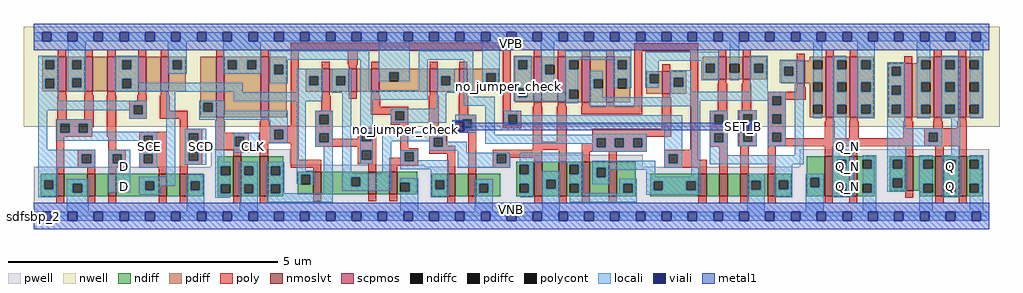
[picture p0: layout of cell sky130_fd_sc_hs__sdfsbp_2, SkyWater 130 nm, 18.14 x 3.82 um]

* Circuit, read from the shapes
.subckt sky130_fd_sc_hs__sdfsbp_2 CLK D SCD SCE SET_B VGND VNB VPB VPWR Q Q_N
XM1 VGND SCE n1 VNB sky130_fd_pr__nfet_01v8_lvt w=0.42 l=0.15
XM2 n2 n1 VGND VNB sky130_fd_pr__nfet_01v8_lvt w=0.42 l=0.15
XM3 n3 D n2 VNB sky130_fd_pr__nfet_01v8_lvt w=0.42 l=0.15
XM4 n4 SCE n3 VNB sky130_fd_pr__nfet_01v8_lvt w=0.42 l=0.15
XM5 VGND SCD n4 VNB sky130_fd_pr__nfet_01v8_lvt w=0.42 l=0.15
XM6 VGND CLK n5 VNB sky130_fd_pr__nfet_01v8_lvt w=0.74 l=0.15
XM7 n6 n5 VGND VNB sky130_fd_pr__nfet_01v8_lvt w=0.74 l=0.15
XM8 n7 n5 n3 VNB sky130_fd_pr__nfet_01v8_lvt w=0.42 l=0.15
XM9 n8 n6 n7 VNB sky130_fd_pr__nfet_01v8_lvt w=0.42 l=0.15
XM10 VGND n9 n8 VNB sky130_fd_pr__nfet_01v8_lvt w=0.42 l=0.15
XM11 n10 n7 n9 VNB sky130_fd_pr__nfet_01v8_lvt w=0.42 l=0.15
XM12 VGND SET_B n10 VNB sky130_fd_pr__nfet_01v8_lvt w=0.42 l=0.15
XM13 VGND n7 n11 VNB sky130_fd_pr__nfet_01v8_lvt w=0.64 l=0.15 m=2
XM14 n12 n6 n11 VNB sky130_fd_pr__nfet_01v8_lvt w=0.64 l=0.15 m=2
XM15 n13 n5 n12 VNB sky130_fd_pr__nfet_01v8_lvt w=0.42 l=0.15
XM16 n14 n15 n13 VNB sky130_fd_pr__nfet_01v8_lvt w=0.42 l=0.15
XM17 VGND SET_B n14 VNB sky130_fd_pr__nfet_01v8_lvt w=0.42 l=0.15
XM18 n15 n12 VGND VNB sky130_fd_pr__nfet_01v8_lvt w=0.42 l=0.15
XM19 Q_N n12 VGND VNB sky130_fd_pr__nfet_01v8_lvt w=0.74 l=0.15 m=2
XM20 VGND n12 n16 VNB sky130_fd_pr__nfet_01v8_lvt w=0.64 l=0.15
XM21 Q n16 VGND VNB sky130_fd_pr__nfet_01v8_lvt w=0.74 l=0.15 m=2
XM22 VPWR SCE n1 VPB sky130_fd_pr__pfet_01v8 w=0.64 l=0.15
XM23 n17 SCE VPWR VPB sky130_fd_pr__pfet_01v8 w=0.64 l=0.15
XM24 n3 D n17 VPB sky130_fd_pr__pfet_01v8 w=0.64 l=0.15
XM25 n18 n1 n3 VPB sky130_fd_pr__pfet_01v8 w=0.64 l=0.15
XM26 VPWR SCD n18 VPB sky130_fd_pr__pfet_01v8 w=0.64 l=0.15
XM27 VPWR CLK n5 VPB sky130_fd_pr__pfet_01v8 w=1.12 l=0.15
XM28 n6 n5 VPWR VPB sky130_fd_pr__pfet_01v8 w=1.12 l=0.15
XM29 n7 n6 n3 VPB sky130_fd_pr__pfet_01v8 w=0.42 l=0.15
XM30 n19 n5 n7 VPB sky130_fd_pr__pfet_01v8 w=0.42 l=0.15
XM31 VPWR n9 n19 VPB sky130_fd_pr__pfet_01v8 w=0.42 l=0.15
XM32 n9 n7 VPWR VPB sky130_fd_pr__pfet_01v8 w=0.42 l=0.15
XM33 VPWR SET_B n9 VPB sky130_fd_pr__pfet_01v8 w=0.42 l=0.15
XM34 VPWR n7 n20 VPB sky130_fd_pr__pfet_01v8 w=0.84 l=0.15 m=2
XM35 n12 n5 n20 VPB sky130_fd_pr__pfet_01v8 w=0.84 l=0.15 m=2
XM36 n12 n6 n21 VPB sky130_fd_pr__pfet_01v8 w=0.42 l=0.15
XM37 VPWR n15 n21 VPB sky130_fd_pr__pfet_01v8 w=0.42 l=0.15
XM38 n12 SET_B VPWR VPB sky130_fd_pr__pfet_01v8 w=0.42 l=0.15
XM39 VPWR n12 n15 VPB sky130_fd_pr__pfet_01v8 w=0.42 l=0.15
XM40 Q_N n12 VPWR VPB sky130_fd_pr__pfet_01v8 w=1.12 l=0.15 m=2
XM41 VPWR n12 n16 VPB sky130_fd_pr__pfet_01v8 w=1 l=0.15
XM42 Q n16 VPWR VPB sky130_fd_pr__pfet_01v8 w=1.12 l=0.15 m=2
.ends

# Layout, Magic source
magic
tech sky130A
magscale 1 2
<< nwell >>
rect -38 332 3590 704
<< pwell >>
rect 658 191 954 248
rect 658 184 1452 191
rect 1768 184 2264 228
rect 2848 184 3551 248
rect 1 49 3551 184
rect 0 0 3552 49
<< scpmos >>
rect 90 464 120 592
rect 190 464 220 592
rect 274 464 304 592
rect 388 464 418 592
rect 472 464 502 592
rect 678 368 708 592
rect 844 368 874 592
rect 1071 463 1101 547
rect 1171 463 1201 547
rect 1255 463 1285 547
rect 1472 463 1502 547
rect 1582 463 1612 547
rect 1858 424 1888 592
rect 1948 424 1978 592
rect 2038 424 2068 592
rect 2128 424 2158 592
rect 2337 455 2367 539
rect 2545 508 2575 592
rect 2635 508 2665 592
rect 2837 494 2867 578
rect 2944 368 2974 592
rect 3034 368 3064 592
rect 3236 368 3266 568
rect 3346 368 3376 592
rect 3436 368 3466 592
<< nmoslvt >>
rect 84 74 114 158
rect 199 74 229 158
rect 277 74 307 158
rect 465 74 495 158
rect 543 74 573 158
rect 741 74 771 222
rect 841 74 871 222
rect 1039 81 1069 165
rect 1244 81 1274 165
rect 1322 81 1352 165
rect 1537 74 1567 158
rect 1615 74 1645 158
rect 1861 74 1891 202
rect 1951 74 1981 202
rect 2037 74 2067 202
rect 2137 74 2167 202
rect 2471 74 2501 158
rect 2549 74 2579 158
rect 2627 74 2657 158
rect 2729 74 2759 158
rect 2941 74 2971 222
rect 3031 74 3061 222
rect 3239 94 3269 222
rect 3352 74 3382 222
rect 3438 74 3468 222
<< ndiff >>
rect 684 186 741 222
rect 27 133 84 158
rect 27 99 39 133
rect 73 99 84 133
rect 27 74 84 99
rect 114 120 199 158
rect 114 86 146 120
rect 180 86 199 120
rect 114 74 199 86
rect 229 74 277 158
rect 307 130 465 158
rect 307 96 414 130
rect 448 96 465 130
rect 307 74 465 96
rect 495 74 543 158
rect 573 130 630 158
rect 573 96 584 130
rect 618 96 630 130
rect 573 74 630 96
rect 684 152 696 186
rect 730 152 741 186
rect 684 118 741 152
rect 684 84 696 118
rect 730 84 741 118
rect 684 74 741 84
rect 771 186 841 222
rect 771 152 782 186
rect 816 152 841 186
rect 771 118 841 152
rect 771 84 782 118
rect 816 84 841 118
rect 771 74 841 84
rect 871 186 928 222
rect 871 152 882 186
rect 916 152 928 186
rect 871 118 928 152
rect 871 84 882 118
rect 916 84 928 118
rect 871 74 928 84
rect 982 153 1039 165
rect 982 119 994 153
rect 1028 119 1039 153
rect 982 81 1039 119
rect 1069 144 1244 165
rect 1069 110 1180 144
rect 1214 110 1244 144
rect 1069 81 1244 110
rect 1274 81 1322 165
rect 1352 124 1426 165
rect 1794 190 1861 202
rect 1352 90 1363 124
rect 1397 90 1426 124
rect 1352 81 1426 90
rect 1480 133 1537 158
rect 1480 99 1492 133
rect 1526 99 1537 133
rect 1480 74 1537 99
rect 1567 74 1615 158
rect 1645 120 1735 158
rect 1645 86 1656 120
rect 1690 86 1735 120
rect 1645 74 1735 86
rect 1794 156 1806 190
rect 1840 156 1861 190
rect 1794 120 1861 156
rect 1794 86 1806 120
rect 1840 86 1861 120
rect 1794 74 1861 86
rect 1891 135 1951 202
rect 1891 101 1906 135
rect 1940 101 1951 135
rect 1891 74 1951 101
rect 1981 190 2037 202
rect 1981 156 1992 190
rect 2026 156 2037 190
rect 1981 120 2037 156
rect 1981 86 1992 120
rect 2026 86 2037 120
rect 1981 74 2037 86
rect 2067 179 2137 202
rect 2067 145 2092 179
rect 2126 145 2137 179
rect 2067 74 2137 145
rect 2167 121 2238 202
rect 2167 87 2192 121
rect 2226 87 2238 121
rect 2167 74 2238 87
rect 2292 130 2471 158
rect 2292 96 2304 130
rect 2338 96 2426 130
rect 2460 96 2471 130
rect 2292 74 2471 96
rect 2501 74 2549 158
rect 2579 74 2627 158
rect 2657 131 2729 158
rect 2657 97 2668 131
rect 2702 97 2729 131
rect 2657 74 2729 97
rect 2759 133 2816 158
rect 2759 99 2770 133
rect 2804 99 2816 133
rect 2759 74 2816 99
rect 2874 142 2941 222
rect 2874 108 2886 142
rect 2920 108 2941 142
rect 2874 74 2941 108
rect 2971 210 3031 222
rect 2971 176 2986 210
rect 3020 176 3031 210
rect 2971 120 3031 176
rect 2971 86 2986 120
rect 3020 86 3031 120
rect 2971 74 3031 86
rect 3061 210 3127 222
rect 3061 176 3081 210
rect 3115 176 3127 210
rect 3061 120 3127 176
rect 3061 86 3081 120
rect 3115 86 3127 120
rect 3182 210 3239 222
rect 3182 176 3194 210
rect 3228 176 3239 210
rect 3182 140 3239 176
rect 3182 106 3194 140
rect 3228 106 3239 140
rect 3182 94 3239 106
rect 3269 210 3352 222
rect 3269 176 3307 210
rect 3341 176 3352 210
rect 3269 120 3352 176
rect 3269 94 3307 120
rect 3061 74 3127 86
rect 3295 86 3307 94
rect 3341 86 3352 120
rect 3295 74 3352 86
rect 3382 210 3438 222
rect 3382 176 3393 210
rect 3427 176 3438 210
rect 3382 120 3438 176
rect 3382 86 3393 120
rect 3427 86 3438 120
rect 3382 74 3438 86
rect 3468 210 3525 222
rect 3468 176 3479 210
rect 3513 176 3525 210
rect 3468 120 3525 176
rect 3468 86 3479 120
rect 3513 86 3525 120
rect 3468 74 3525 86
<< pdiff >>
rect 31 580 90 592
rect 31 546 43 580
rect 77 546 90 580
rect 31 510 90 546
rect 31 476 43 510
rect 77 476 90 510
rect 31 464 90 476
rect 120 580 190 592
rect 120 546 143 580
rect 177 546 190 580
rect 120 512 190 546
rect 120 478 143 512
rect 177 478 190 512
rect 120 464 190 478
rect 220 464 274 592
rect 304 580 388 592
rect 304 546 329 580
rect 363 546 388 580
rect 304 510 388 546
rect 304 476 329 510
rect 363 476 388 510
rect 304 464 388 476
rect 418 464 472 592
rect 502 580 565 592
rect 502 546 517 580
rect 551 546 565 580
rect 502 464 565 546
rect 619 421 678 592
rect 619 387 631 421
rect 665 387 678 421
rect 619 368 678 387
rect 708 580 844 592
rect 708 546 721 580
rect 755 546 794 580
rect 828 546 844 580
rect 708 368 844 546
rect 874 562 940 592
rect 874 528 894 562
rect 928 528 940 562
rect 874 368 940 528
rect 1012 520 1071 547
rect 1012 486 1024 520
rect 1058 486 1071 520
rect 1012 463 1071 486
rect 1101 520 1171 547
rect 1101 486 1124 520
rect 1158 486 1171 520
rect 1101 463 1171 486
rect 1201 463 1255 547
rect 1285 535 1472 547
rect 1285 501 1322 535
rect 1356 501 1472 535
rect 1285 463 1472 501
rect 1502 520 1582 547
rect 1502 486 1515 520
rect 1549 486 1582 520
rect 1502 463 1582 486
rect 1612 531 1729 547
rect 1612 497 1683 531
rect 1717 497 1729 531
rect 1612 463 1729 497
rect 1789 580 1858 592
rect 1789 546 1801 580
rect 1835 546 1858 580
rect 1789 476 1858 546
rect 1789 442 1801 476
rect 1835 442 1858 476
rect 1789 424 1858 442
rect 1888 562 1948 592
rect 1888 528 1901 562
rect 1935 528 1948 562
rect 1888 424 1948 528
rect 1978 580 2038 592
rect 1978 546 1991 580
rect 2025 546 2038 580
rect 1978 470 2038 546
rect 1978 436 1991 470
rect 2025 436 2038 470
rect 1978 424 2038 436
rect 2068 509 2128 592
rect 2068 475 2081 509
rect 2115 475 2128 509
rect 2068 424 2128 475
rect 2158 580 2217 592
rect 2158 546 2171 580
rect 2205 546 2217 580
rect 2158 510 2217 546
rect 2158 476 2171 510
rect 2205 476 2217 510
rect 2158 424 2217 476
rect 2277 527 2337 539
rect 2277 493 2289 527
rect 2323 493 2337 527
rect 2277 455 2337 493
rect 2367 514 2426 539
rect 2367 480 2380 514
rect 2414 480 2426 514
rect 2367 455 2426 480
rect 2486 567 2545 592
rect 2486 533 2498 567
rect 2532 533 2545 567
rect 2486 508 2545 533
rect 2575 567 2635 592
rect 2575 533 2588 567
rect 2622 533 2635 567
rect 2575 508 2635 533
rect 2665 567 2724 592
rect 2885 580 2944 592
rect 2885 578 2897 580
rect 2665 533 2678 567
rect 2712 533 2724 567
rect 2665 508 2724 533
rect 2778 556 2837 578
rect 2778 522 2790 556
rect 2824 522 2837 556
rect 2778 494 2837 522
rect 2867 546 2897 578
rect 2931 546 2944 580
rect 2867 497 2944 546
rect 2867 494 2897 497
rect 2885 463 2897 494
rect 2931 463 2944 497
rect 2885 414 2944 463
rect 2885 380 2897 414
rect 2931 380 2944 414
rect 2885 368 2944 380
rect 2974 580 3034 592
rect 2974 546 2987 580
rect 3021 546 3034 580
rect 2974 497 3034 546
rect 2974 463 2987 497
rect 3021 463 3034 497
rect 2974 414 3034 463
rect 2974 380 2987 414
rect 3021 380 3034 414
rect 2974 368 3034 380
rect 3064 580 3123 592
rect 3064 546 3077 580
rect 3111 546 3123 580
rect 3287 580 3346 592
rect 3287 568 3299 580
rect 3064 497 3123 546
rect 3064 463 3077 497
rect 3111 463 3123 497
rect 3064 414 3123 463
rect 3064 380 3077 414
rect 3111 380 3123 414
rect 3064 368 3123 380
rect 3177 556 3236 568
rect 3177 522 3189 556
rect 3223 522 3236 556
rect 3177 485 3236 522
rect 3177 451 3189 485
rect 3223 451 3236 485
rect 3177 414 3236 451
rect 3177 380 3189 414
rect 3223 380 3236 414
rect 3177 368 3236 380
rect 3266 546 3299 568
rect 3333 546 3346 580
rect 3266 497 3346 546
rect 3266 463 3299 497
rect 3333 463 3346 497
rect 3266 414 3346 463
rect 3266 380 3299 414
rect 3333 380 3346 414
rect 3266 368 3346 380
rect 3376 580 3436 592
rect 3376 546 3389 580
rect 3423 546 3436 580
rect 3376 497 3436 546
rect 3376 463 3389 497
rect 3423 463 3436 497
rect 3376 414 3436 463
rect 3376 380 3389 414
rect 3423 380 3436 414
rect 3376 368 3436 380
rect 3466 580 3525 592
rect 3466 546 3479 580
rect 3513 546 3525 580
rect 3466 497 3525 546
rect 3466 463 3479 497
rect 3513 463 3525 497
rect 3466 414 3525 463
rect 3466 380 3479 414
rect 3513 380 3525 414
rect 3466 368 3525 380
<< ndiffc >>
rect 39 99 73 133
rect 146 86 180 120
rect 414 96 448 130
rect 584 96 618 130
rect 696 152 730 186
rect 696 84 730 118
rect 782 152 816 186
rect 782 84 816 118
rect 882 152 916 186
rect 882 84 916 118
rect 994 119 1028 153
rect 1180 110 1214 144
rect 1363 90 1397 124
rect 1492 99 1526 133
rect 1656 86 1690 120
rect 1806 156 1840 190
rect 1806 86 1840 120
rect 1906 101 1940 135
rect 1992 156 2026 190
rect 1992 86 2026 120
rect 2092 145 2126 179
rect 2192 87 2226 121
rect 2304 96 2338 130
rect 2426 96 2460 130
rect 2668 97 2702 131
rect 2770 99 2804 133
rect 2886 108 2920 142
rect 2986 176 3020 210
rect 2986 86 3020 120
rect 3081 176 3115 210
rect 3081 86 3115 120
rect 3194 176 3228 210
rect 3194 106 3228 140
rect 3307 176 3341 210
rect 3307 86 3341 120
rect 3393 176 3427 210
rect 3393 86 3427 120
rect 3479 176 3513 210
rect 3479 86 3513 120
<< pdiffc >>
rect 43 546 77 580
rect 43 476 77 510
rect 143 546 177 580
rect 143 478 177 512
rect 329 546 363 580
rect 329 476 363 510
rect 517 546 551 580
rect 631 387 665 421
rect 721 546 755 580
rect 794 546 828 580
rect 894 528 928 562
rect 1024 486 1058 520
rect 1124 486 1158 520
rect 1322 501 1356 535
rect 1515 486 1549 520
rect 1683 497 1717 531
rect 1801 546 1835 580
rect 1801 442 1835 476
rect 1901 528 1935 562
rect 1991 546 2025 580
rect 1991 436 2025 470
rect 2081 475 2115 509
rect 2171 546 2205 580
rect 2171 476 2205 510
rect 2289 493 2323 527
rect 2380 480 2414 514
rect 2498 533 2532 567
rect 2588 533 2622 567
rect 2678 533 2712 567
rect 2790 522 2824 556
rect 2897 546 2931 580
rect 2897 463 2931 497
rect 2897 380 2931 414
rect 2987 546 3021 580
rect 2987 463 3021 497
rect 2987 380 3021 414
rect 3077 546 3111 580
rect 3077 463 3111 497
rect 3077 380 3111 414
rect 3189 522 3223 556
rect 3189 451 3223 485
rect 3189 380 3223 414
rect 3299 546 3333 580
rect 3299 463 3333 497
rect 3299 380 3333 414
rect 3389 546 3423 580
rect 3389 463 3423 497
rect 3389 380 3423 414
rect 3479 546 3513 580
rect 3479 463 3513 497
rect 3479 380 3513 414
<< poly >>
rect 90 592 120 618
rect 190 592 220 618
rect 274 592 304 618
rect 388 592 418 618
rect 472 592 502 618
rect 678 592 708 618
rect 844 592 874 618
rect 955 615 1774 645
rect 90 449 120 464
rect 190 449 220 464
rect 274 449 304 464
rect 388 449 418 464
rect 472 449 502 464
rect 87 360 123 449
rect 187 360 223 449
rect 83 344 223 360
rect 83 310 99 344
rect 133 310 167 344
rect 201 330 223 344
rect 201 310 217 330
rect 83 294 217 310
rect 271 294 307 449
rect 385 428 421 449
rect 355 412 421 428
rect 355 378 371 412
rect 405 378 421 412
rect 355 362 421 378
rect 469 392 505 449
rect 469 362 573 392
rect 543 324 573 362
rect 678 353 708 368
rect 844 353 874 368
rect 84 158 114 294
rect 277 246 307 294
rect 393 298 495 314
rect 393 264 409 298
rect 443 264 495 298
rect 163 230 229 246
rect 163 196 179 230
rect 213 196 229 230
rect 163 180 229 196
rect 199 158 229 180
rect 277 230 343 246
rect 277 196 293 230
rect 327 196 343 230
rect 277 180 343 196
rect 393 230 495 264
rect 393 196 409 230
rect 443 196 495 230
rect 393 180 495 196
rect 277 158 307 180
rect 465 158 495 180
rect 543 308 627 324
rect 543 274 577 308
rect 611 274 627 308
rect 543 240 627 274
rect 675 310 711 353
rect 841 336 877 353
rect 955 336 985 615
rect 1071 547 1101 573
rect 1168 562 1204 615
rect 1171 547 1201 562
rect 1255 547 1285 573
rect 1472 547 1502 573
rect 1582 547 1612 573
rect 1071 448 1101 463
rect 1068 392 1104 448
rect 1171 437 1201 463
rect 1255 448 1285 463
rect 1472 448 1502 463
rect 1582 448 1612 463
rect 1252 406 1288 448
rect 841 320 985 336
rect 675 294 799 310
rect 675 260 749 294
rect 783 260 799 294
rect 675 244 799 260
rect 841 286 894 320
rect 928 286 985 320
rect 841 270 985 286
rect 543 206 577 240
rect 611 206 627 240
rect 741 222 771 244
rect 841 222 871 270
rect 543 190 627 206
rect 543 158 573 190
rect 955 210 985 270
rect 1046 376 1112 392
rect 1252 390 1393 406
rect 1252 376 1343 390
rect 1046 342 1062 376
rect 1096 342 1112 376
rect 1046 308 1112 342
rect 1327 356 1343 376
rect 1377 356 1393 390
rect 1327 340 1393 356
rect 1046 274 1062 308
rect 1096 288 1112 308
rect 1204 312 1274 328
rect 1204 288 1220 312
rect 1096 278 1220 288
rect 1254 278 1274 312
rect 1096 274 1274 278
rect 1046 258 1274 274
rect 1204 244 1274 258
rect 1204 210 1220 244
rect 1254 210 1274 244
rect 1363 253 1393 340
rect 1469 310 1505 448
rect 1579 376 1615 448
rect 1744 392 1774 615
rect 1858 592 1888 618
rect 1948 592 1978 618
rect 2038 592 2068 618
rect 2128 592 2158 618
rect 2232 613 2471 643
rect 1858 409 1888 424
rect 1948 409 1978 424
rect 2038 409 2068 424
rect 2128 409 2158 424
rect 2232 409 2262 613
rect 2337 539 2367 565
rect 2337 440 2367 455
rect 1744 376 1813 392
rect 1579 360 1645 376
rect 1579 326 1595 360
rect 1629 326 1645 360
rect 1744 342 1763 376
rect 1797 342 1813 376
rect 1744 326 1813 342
rect 1579 310 1645 326
rect 1471 308 1505 310
rect 1471 292 1537 308
rect 1471 258 1487 292
rect 1521 262 1537 292
rect 1521 258 1567 262
rect 1363 237 1429 253
rect 1363 217 1379 237
rect 955 180 1069 210
rect 1204 194 1274 210
rect 1039 165 1069 180
rect 1244 165 1274 194
rect 1322 203 1379 217
rect 1413 203 1429 237
rect 1471 232 1567 258
rect 1322 187 1429 203
rect 1322 165 1352 187
rect 1537 158 1567 232
rect 1615 158 1645 310
rect 1855 277 1891 409
rect 1945 277 1981 409
rect 2035 379 2262 409
rect 2334 324 2370 440
rect 1855 247 1981 277
rect 2076 294 2370 324
rect 2076 290 2278 294
rect 2076 270 2092 290
rect 1706 230 1891 247
rect 1706 196 1722 230
rect 1756 217 1891 230
rect 1756 196 1772 217
rect 1861 202 1891 217
rect 1951 202 1981 247
rect 2037 256 2092 270
rect 2126 256 2160 290
rect 2194 256 2228 290
rect 2262 256 2278 290
rect 2037 240 2278 256
rect 2441 246 2471 613
rect 2545 592 2575 618
rect 2635 592 2665 618
rect 2837 578 2867 604
rect 2944 592 2974 618
rect 3034 592 3064 618
rect 2545 493 2575 508
rect 2635 493 2665 508
rect 2542 392 2578 493
rect 2632 394 2668 493
rect 2837 479 2867 494
rect 2834 462 2870 479
rect 2729 446 2870 462
rect 2729 412 2745 446
rect 2779 432 2870 446
rect 2779 412 2795 432
rect 2513 376 2579 392
rect 2513 342 2529 376
rect 2563 342 2579 376
rect 2513 308 2579 342
rect 2513 274 2529 308
rect 2563 274 2579 308
rect 2513 258 2579 274
rect 2621 378 2687 394
rect 2621 344 2637 378
rect 2671 344 2687 378
rect 2621 310 2687 344
rect 2621 276 2637 310
rect 2671 276 2687 310
rect 2621 260 2687 276
rect 2729 378 2795 412
rect 2729 344 2745 378
rect 2779 344 2795 378
rect 3236 568 3266 594
rect 3346 592 3376 618
rect 3436 592 3466 618
rect 2944 353 2974 368
rect 3034 353 3064 368
rect 3236 353 3266 368
rect 3346 353 3376 368
rect 3436 353 3466 368
rect 2729 310 2795 344
rect 2729 276 2745 310
rect 2779 290 2795 310
rect 2941 290 2977 353
rect 3031 290 3067 353
rect 3233 290 3269 353
rect 3343 326 3379 353
rect 3433 326 3469 353
rect 2779 276 3269 290
rect 2729 260 3269 276
rect 3311 310 3469 326
rect 3311 276 3327 310
rect 3361 290 3469 310
rect 3361 276 3468 290
rect 3311 260 3468 276
rect 2037 202 2067 240
rect 2137 202 2167 240
rect 2344 230 2471 246
rect 1706 180 1772 196
rect 84 48 114 74
rect 199 48 229 74
rect 277 48 307 74
rect 465 48 495 74
rect 543 48 573 74
rect 741 48 771 74
rect 841 48 871 74
rect 1039 55 1069 81
rect 1244 55 1274 81
rect 1322 55 1352 81
rect 2344 196 2360 230
rect 2394 210 2471 230
rect 2394 196 2501 210
rect 2344 180 2501 196
rect 2471 158 2501 180
rect 2549 158 2579 258
rect 2627 158 2657 260
rect 2729 158 2759 260
rect 2941 222 2971 260
rect 3031 222 3061 260
rect 3239 222 3269 260
rect 3352 222 3382 260
rect 3438 222 3468 260
rect 1537 48 1567 74
rect 1615 48 1645 74
rect 1861 48 1891 74
rect 1951 48 1981 74
rect 2037 48 2067 74
rect 2137 48 2167 74
rect 2471 48 2501 74
rect 2549 48 2579 74
rect 2627 48 2657 74
rect 2729 48 2759 74
rect 2941 48 2971 74
rect 3031 48 3061 74
rect 3239 68 3269 94
rect 3352 48 3382 74
rect 3438 48 3468 74
<< polycont >>
rect 99 310 133 344
rect 167 310 201 344
rect 371 378 405 412
rect 409 264 443 298
rect 179 196 213 230
rect 293 196 327 230
rect 409 196 443 230
rect 577 274 611 308
rect 749 260 783 294
rect 894 286 928 320
rect 577 206 611 240
rect 1062 342 1096 376
rect 1343 356 1377 390
rect 1062 274 1096 308
rect 1220 278 1254 312
rect 1220 210 1254 244
rect 1595 326 1629 360
rect 1763 342 1797 376
rect 1487 258 1521 292
rect 1379 203 1413 237
rect 1722 196 1756 230
rect 2092 256 2126 290
rect 2160 256 2194 290
rect 2228 256 2262 290
rect 2745 412 2779 446
rect 2529 342 2563 376
rect 2529 274 2563 308
rect 2637 344 2671 378
rect 2637 276 2671 310
rect 2745 344 2779 378
rect 2745 276 2779 310
rect 3327 276 3361 310
rect 2360 196 2394 230
<< locali >>
rect 0 649 31 683
rect 65 649 127 683
rect 161 649 223 683
rect 257 649 319 683
rect 353 649 415 683
rect 449 649 511 683
rect 545 649 607 683
rect 641 649 703 683
rect 737 649 799 683
rect 833 649 895 683
rect 929 649 991 683
rect 1025 649 1087 683
rect 1121 649 1183 683
rect 1217 649 1279 683
rect 1313 649 1375 683
rect 1409 649 1471 683
rect 1505 649 1567 683
rect 1601 649 1663 683
rect 1697 649 1759 683
rect 1793 649 1855 683
rect 1889 649 1951 683
rect 1985 649 2047 683
rect 2081 649 2143 683
rect 2177 649 2239 683
rect 2273 649 2335 683
rect 2369 649 2431 683
rect 2465 649 2527 683
rect 2561 649 2623 683
rect 2657 649 2719 683
rect 2753 649 2815 683
rect 2849 649 2911 683
rect 2945 649 3007 683
rect 3041 649 3103 683
rect 3137 649 3199 683
rect 3233 649 3295 683
rect 3329 649 3391 683
rect 3425 649 3487 683
rect 3521 649 3552 683
rect 17 580 93 596
rect 17 546 43 580
rect 77 546 93 580
rect 17 510 93 546
rect 17 476 43 510
rect 77 476 93 510
rect 17 428 93 476
rect 127 580 193 649
rect 127 546 143 580
rect 177 546 193 580
rect 127 512 193 546
rect 127 478 143 512
rect 177 478 193 512
rect 127 462 193 478
rect 301 580 391 596
rect 301 546 329 580
rect 363 546 391 580
rect 301 510 391 546
rect 499 580 569 649
rect 499 546 517 580
rect 551 546 569 580
rect 499 530 569 546
rect 705 580 844 649
rect 705 546 721 580
rect 755 546 794 580
rect 828 546 844 580
rect 705 530 844 546
rect 878 581 1248 615
rect 878 562 944 581
rect 301 476 329 510
rect 363 496 391 510
rect 878 528 894 562
rect 928 528 944 562
rect 363 476 777 496
rect 878 494 944 528
rect 978 520 1074 547
rect 301 462 777 476
rect 17 412 421 428
rect 17 394 371 412
rect 17 246 51 394
rect 355 378 371 394
rect 405 378 421 412
rect 355 362 421 378
rect 85 344 217 360
rect 85 310 99 344
rect 133 310 167 344
rect 201 314 217 344
rect 201 310 459 314
rect 85 298 459 310
rect 85 280 409 298
rect 393 264 409 280
rect 443 264 459 298
rect 17 230 229 246
rect 17 196 179 230
rect 213 196 229 230
rect 17 180 229 196
rect 277 230 359 246
rect 277 196 293 230
rect 327 196 359 230
rect 17 133 89 180
rect 17 99 39 133
rect 73 99 89 133
rect 17 70 89 99
rect 123 120 204 136
rect 123 86 146 120
rect 180 86 204 120
rect 277 88 359 196
rect 393 230 459 264
rect 393 196 409 230
rect 443 196 459 230
rect 393 180 459 196
rect 493 146 527 462
rect 743 460 777 462
rect 978 486 1024 520
rect 1058 486 1074 520
rect 978 460 1074 486
rect 615 421 709 428
rect 743 426 1074 460
rect 1108 520 1180 547
rect 1108 486 1124 520
rect 1158 486 1180 520
rect 1108 459 1180 486
rect 615 387 631 421
rect 665 392 709 421
rect 665 387 944 392
rect 615 358 944 387
rect 561 308 641 324
rect 561 274 577 308
rect 611 274 641 308
rect 561 240 641 274
rect 561 206 577 240
rect 611 206 641 240
rect 561 190 641 206
rect 675 202 709 358
rect 878 320 944 358
rect 743 294 839 310
rect 743 260 749 294
rect 783 260 839 294
rect 878 286 894 320
rect 928 286 944 320
rect 878 270 944 286
rect 743 236 839 260
rect 675 186 730 202
rect 393 130 527 146
rect 393 96 414 130
rect 448 112 527 130
rect 568 130 634 156
rect 448 96 470 112
rect 123 17 204 86
rect 393 80 470 96
rect 568 96 584 130
rect 618 96 634 130
rect 568 17 634 96
rect 675 152 696 186
rect 675 118 730 152
rect 675 84 696 118
rect 675 68 730 84
rect 766 186 832 202
rect 766 152 782 186
rect 816 152 832 186
rect 766 118 832 152
rect 766 84 782 118
rect 816 84 832 118
rect 766 17 832 84
rect 866 186 932 202
rect 866 152 882 186
rect 916 152 932 186
rect 866 118 932 152
rect 978 169 1012 426
rect 1046 376 1112 392
rect 1046 342 1062 376
rect 1096 342 1112 376
rect 1046 308 1112 342
rect 1046 274 1062 308
rect 1096 274 1112 308
rect 1046 258 1112 274
rect 978 153 1044 169
rect 978 119 994 153
rect 1028 119 1044 153
rect 866 84 882 118
rect 916 85 932 118
rect 1078 85 1112 258
rect 1146 160 1180 459
rect 1214 467 1248 581
rect 1282 535 1397 649
rect 1282 501 1322 535
rect 1356 501 1397 535
rect 1431 581 1633 615
rect 1431 467 1465 581
rect 1214 433 1465 467
rect 1499 520 1565 547
rect 1499 486 1515 520
rect 1549 486 1565 520
rect 1499 459 1565 486
rect 1214 312 1261 433
rect 1499 399 1533 459
rect 1599 444 1633 581
rect 1667 531 1733 649
rect 1667 497 1683 531
rect 1717 497 1733 531
rect 1667 478 1733 497
rect 1785 580 1851 596
rect 1785 546 1801 580
rect 1835 546 1851 580
rect 1785 476 1851 546
rect 1885 562 1935 649
rect 1885 528 1901 562
rect 1885 494 1935 528
rect 1975 581 2221 615
rect 1975 580 2025 581
rect 1975 546 1991 580
rect 1599 410 1713 444
rect 1785 442 1801 476
rect 1835 460 1851 476
rect 1975 470 2025 546
rect 2155 580 2221 581
rect 2155 546 2171 580
rect 2205 546 2221 580
rect 1975 460 1991 470
rect 1835 442 1991 460
rect 1785 436 1991 442
rect 1785 426 2025 436
rect 1975 420 2025 426
rect 2065 509 2115 540
rect 2065 475 2081 509
rect 2155 510 2221 546
rect 2155 476 2171 510
rect 2205 476 2221 510
rect 2273 577 2548 611
rect 2273 527 2324 577
rect 2482 567 2548 577
rect 2273 493 2289 527
rect 2323 493 2324 527
rect 2273 477 2324 493
rect 2364 514 2444 543
rect 2364 480 2380 514
rect 2414 480 2444 514
rect 2482 533 2498 567
rect 2532 533 2548 567
rect 2482 504 2548 533
rect 2588 567 2622 649
rect 2588 504 2622 533
rect 2662 567 2728 596
rect 2662 533 2678 567
rect 2712 533 2728 567
rect 2065 442 2115 475
rect 2364 462 2444 480
rect 2662 462 2728 533
rect 2774 556 2863 582
rect 2774 522 2790 556
rect 2824 522 2863 556
rect 2774 496 2863 522
rect 2364 446 2795 462
rect 2364 442 2745 446
rect 2065 428 2745 442
rect 1327 390 1533 399
rect 1327 356 1343 390
rect 1377 356 1533 390
rect 1327 347 1533 356
rect 1567 360 1645 376
rect 1567 350 1595 360
rect 1629 326 1645 360
rect 1601 316 1645 326
rect 1214 278 1220 312
rect 1254 278 1261 312
rect 1214 244 1261 278
rect 1214 210 1220 244
rect 1254 210 1261 244
rect 1214 194 1261 210
rect 1295 292 1533 313
rect 1567 310 1645 316
rect 1295 279 1487 292
rect 1295 160 1329 279
rect 1471 258 1487 279
rect 1521 276 1533 292
rect 1679 303 1713 410
rect 2065 408 2478 428
rect 1747 376 1813 392
rect 1747 342 1763 376
rect 1797 374 1813 376
rect 1797 342 2410 374
rect 1747 340 2410 342
rect 1747 337 1813 340
rect 2076 303 2278 306
rect 1679 290 2278 303
rect 1521 258 1610 276
rect 1679 269 2092 290
rect 1363 237 1429 245
rect 1471 242 1610 258
rect 1363 203 1379 237
rect 1413 208 1429 237
rect 1576 235 1610 242
rect 2076 256 2092 269
rect 2126 256 2160 290
rect 2194 256 2228 290
rect 2262 256 2278 290
rect 2076 240 2278 256
rect 1576 230 1772 235
rect 1413 203 1542 208
rect 1363 174 1542 203
rect 1576 196 1722 230
rect 1756 196 1772 230
rect 1576 180 1772 196
rect 1806 201 2042 235
rect 2344 230 2410 340
rect 1806 190 1856 201
rect 1146 144 1329 160
rect 1146 110 1180 144
rect 1214 110 1329 144
rect 1146 94 1329 110
rect 1363 124 1430 140
rect 916 84 1112 85
rect 866 51 1112 84
rect 1397 90 1430 124
rect 1363 17 1430 90
rect 1476 133 1542 174
rect 1840 156 1856 190
rect 1992 190 2042 201
rect 1476 99 1492 133
rect 1526 99 1542 133
rect 1476 70 1542 99
rect 1640 120 1706 136
rect 1640 86 1656 120
rect 1690 86 1706 120
rect 1640 17 1706 86
rect 1806 120 1856 156
rect 1840 86 1856 120
rect 1806 70 1856 86
rect 1890 135 1956 167
rect 1890 101 1906 135
rect 1940 101 1956 135
rect 1890 17 1956 101
rect 2026 156 2042 190
rect 1992 120 2042 156
rect 2026 86 2042 120
rect 2076 179 2310 206
rect 2344 196 2360 230
rect 2394 196 2410 230
rect 2344 180 2410 196
rect 2076 145 2092 179
rect 2126 172 2310 179
rect 2126 145 2142 172
rect 2076 119 2142 145
rect 2276 146 2310 172
rect 2444 146 2478 408
rect 2729 412 2745 428
rect 2779 412 2795 446
rect 2513 376 2579 392
rect 2513 342 2529 376
rect 2563 342 2579 376
rect 2513 308 2579 342
rect 2513 274 2529 308
rect 2563 274 2579 308
rect 2513 226 2579 274
rect 2617 378 2687 394
rect 2617 350 2637 378
rect 2617 316 2623 350
rect 2671 344 2687 378
rect 2657 316 2687 344
rect 2617 310 2687 316
rect 2617 276 2637 310
rect 2671 276 2687 310
rect 2617 260 2687 276
rect 2729 378 2795 412
rect 2729 344 2745 378
rect 2779 344 2795 378
rect 2729 310 2795 344
rect 2729 276 2745 310
rect 2779 276 2795 310
rect 2729 260 2795 276
rect 2829 226 2863 496
rect 2897 580 2931 649
rect 2897 497 2931 546
rect 2897 414 2931 463
rect 2897 364 2931 380
rect 2970 580 3021 596
rect 2970 546 2987 580
rect 2970 497 3021 546
rect 2970 463 2987 497
rect 2970 414 3021 463
rect 2970 380 2987 414
rect 2513 192 2863 226
rect 2970 282 3021 380
rect 3061 580 3127 649
rect 3061 546 3077 580
rect 3111 546 3127 580
rect 3283 580 3333 649
rect 3061 497 3127 546
rect 3061 463 3077 497
rect 3111 463 3127 497
rect 3061 414 3127 463
rect 3061 380 3077 414
rect 3111 380 3127 414
rect 3061 364 3127 380
rect 3173 556 3239 572
rect 3173 522 3189 556
rect 3223 522 3239 556
rect 3173 485 3239 522
rect 3173 451 3189 485
rect 3223 451 3239 485
rect 3173 414 3239 451
rect 3173 380 3189 414
rect 3223 380 3239 414
rect 3173 326 3239 380
rect 3283 546 3299 580
rect 3283 497 3333 546
rect 3283 463 3299 497
rect 3283 414 3333 463
rect 3283 380 3299 414
rect 3283 364 3333 380
rect 3373 580 3445 596
rect 3373 546 3389 580
rect 3423 546 3445 580
rect 3373 497 3445 546
rect 3373 463 3389 497
rect 3423 463 3445 497
rect 3373 414 3445 463
rect 3373 380 3389 414
rect 3423 380 3445 414
rect 3373 364 3445 380
rect 3479 580 3529 649
rect 3513 546 3529 580
rect 3479 497 3529 546
rect 3513 463 3529 497
rect 3479 414 3529 463
rect 3513 380 3529 414
rect 3479 364 3529 380
rect 3173 310 3377 326
rect 2970 210 3047 282
rect 3173 276 3327 310
rect 3361 276 3377 310
rect 3173 260 3377 276
rect 2176 121 2242 138
rect 1992 85 2042 86
rect 2176 87 2192 121
rect 2226 87 2242 121
rect 2176 85 2242 87
rect 1992 51 2242 85
rect 2276 130 2478 146
rect 2276 96 2304 130
rect 2338 96 2426 130
rect 2460 96 2478 130
rect 2276 80 2478 96
rect 2652 131 2718 158
rect 2652 97 2668 131
rect 2702 97 2718 131
rect 2652 17 2718 97
rect 2754 133 2820 192
rect 2970 176 2986 210
rect 3020 176 3047 210
rect 2754 99 2770 133
rect 2804 99 2820 133
rect 2754 70 2820 99
rect 2870 142 2936 158
rect 2870 108 2886 142
rect 2920 108 2936 142
rect 2870 17 2936 108
rect 2970 120 3047 176
rect 2970 86 2986 120
rect 3020 86 3047 120
rect 2970 70 3047 86
rect 3081 210 3131 226
rect 3115 176 3131 210
rect 3081 120 3131 176
rect 3115 86 3131 120
rect 3173 210 3244 260
rect 3411 226 3445 364
rect 3173 176 3194 210
rect 3228 176 3244 210
rect 3173 140 3244 176
rect 3173 106 3194 140
rect 3228 106 3244 140
rect 3173 90 3244 106
rect 3291 210 3341 226
rect 3291 176 3307 210
rect 3291 120 3341 176
rect 3081 17 3131 86
rect 3291 86 3307 120
rect 3291 17 3341 86
rect 3377 210 3445 226
rect 3377 176 3393 210
rect 3427 176 3445 210
rect 3377 120 3445 176
rect 3377 86 3393 120
rect 3427 86 3445 120
rect 3377 70 3445 86
rect 3479 210 3529 226
rect 3513 176 3529 210
rect 3479 120 3529 176
rect 3513 86 3529 120
rect 3479 17 3529 86
rect 0 -17 31 17
rect 65 -17 127 17
rect 161 -17 223 17
rect 257 -17 319 17
rect 353 -17 415 17
rect 449 -17 511 17
rect 545 -17 607 17
rect 641 -17 703 17
rect 737 -17 799 17
rect 833 -17 895 17
rect 929 -17 991 17
rect 1025 -17 1087 17
rect 1121 -17 1183 17
rect 1217 -17 1279 17
rect 1313 -17 1375 17
rect 1409 -17 1471 17
rect 1505 -17 1567 17
rect 1601 -17 1663 17
rect 1697 -17 1759 17
rect 1793 -17 1855 17
rect 1889 -17 1951 17
rect 1985 -17 2047 17
rect 2081 -17 2143 17
rect 2177 -17 2239 17
rect 2273 -17 2335 17
rect 2369 -17 2431 17
rect 2465 -17 2527 17
rect 2561 -17 2623 17
rect 2657 -17 2719 17
rect 2753 -17 2815 17
rect 2849 -17 2911 17
rect 2945 -17 3007 17
rect 3041 -17 3103 17
rect 3137 -17 3199 17
rect 3233 -17 3295 17
rect 3329 -17 3391 17
rect 3425 -17 3487 17
rect 3521 -17 3552 17
<< viali >>
rect 31 649 65 683
rect 127 649 161 683
rect 223 649 257 683
rect 319 649 353 683
rect 415 649 449 683
rect 511 649 545 683
rect 607 649 641 683
rect 703 649 737 683
rect 799 649 833 683
rect 895 649 929 683
rect 991 649 1025 683
rect 1087 649 1121 683
rect 1183 649 1217 683
rect 1279 649 1313 683
rect 1375 649 1409 683
rect 1471 649 1505 683
rect 1567 649 1601 683
rect 1663 649 1697 683
rect 1759 649 1793 683
rect 1855 649 1889 683
rect 1951 649 1985 683
rect 2047 649 2081 683
rect 2143 649 2177 683
rect 2239 649 2273 683
rect 2335 649 2369 683
rect 2431 649 2465 683
rect 2527 649 2561 683
rect 2623 649 2657 683
rect 2719 649 2753 683
rect 2815 649 2849 683
rect 2911 649 2945 683
rect 3007 649 3041 683
rect 3103 649 3137 683
rect 3199 649 3233 683
rect 3295 649 3329 683
rect 3391 649 3425 683
rect 3487 649 3521 683
rect 1567 326 1595 350
rect 1595 326 1601 350
rect 1567 316 1601 326
rect 2623 344 2637 350
rect 2637 344 2657 350
rect 2623 316 2657 344
rect 31 -17 65 17
rect 127 -17 161 17
rect 223 -17 257 17
rect 319 -17 353 17
rect 415 -17 449 17
rect 511 -17 545 17
rect 607 -17 641 17
rect 703 -17 737 17
rect 799 -17 833 17
rect 895 -17 929 17
rect 991 -17 1025 17
rect 1087 -17 1121 17
rect 1183 -17 1217 17
rect 1279 -17 1313 17
rect 1375 -17 1409 17
rect 1471 -17 1505 17
rect 1567 -17 1601 17
rect 1663 -17 1697 17
rect 1759 -17 1793 17
rect 1855 -17 1889 17
rect 1951 -17 1985 17
rect 2047 -17 2081 17
rect 2143 -17 2177 17
rect 2239 -17 2273 17
rect 2335 -17 2369 17
rect 2431 -17 2465 17
rect 2527 -17 2561 17
rect 2623 -17 2657 17
rect 2719 -17 2753 17
rect 2815 -17 2849 17
rect 2911 -17 2945 17
rect 3007 -17 3041 17
rect 3103 -17 3137 17
rect 3199 -17 3233 17
rect 3295 -17 3329 17
rect 3391 -17 3425 17
rect 3487 -17 3521 17
<< metal1 >>
rect 0 683 3552 715
rect 0 649 31 683
rect 65 649 127 683
rect 161 649 223 683
rect 257 649 319 683
rect 353 649 415 683
rect 449 649 511 683
rect 545 649 607 683
rect 641 649 703 683
rect 737 649 799 683
rect 833 649 895 683
rect 929 649 991 683
rect 1025 649 1087 683
rect 1121 649 1183 683
rect 1217 649 1279 683
rect 1313 649 1375 683
rect 1409 649 1471 683
rect 1505 649 1567 683
rect 1601 649 1663 683
rect 1697 649 1759 683
rect 1793 649 1855 683
rect 1889 649 1951 683
rect 1985 649 2047 683
rect 2081 649 2143 683
rect 2177 649 2239 683
rect 2273 649 2335 683
rect 2369 649 2431 683
rect 2465 649 2527 683
rect 2561 649 2623 683
rect 2657 649 2719 683
rect 2753 649 2815 683
rect 2849 649 2911 683
rect 2945 649 3007 683
rect 3041 649 3103 683
rect 3137 649 3199 683
rect 3233 649 3295 683
rect 3329 649 3391 683
rect 3425 649 3487 683
rect 3521 649 3552 683
rect 0 617 3552 649
rect 1555 350 1613 356
rect 1555 316 1567 350
rect 1601 347 1613 350
rect 2611 350 2669 356
rect 2611 347 2623 350
rect 1601 319 2623 347
rect 1601 316 1613 319
rect 1555 310 1613 316
rect 2611 316 2623 319
rect 2657 316 2669 350
rect 2611 310 2669 316
rect 0 17 3552 49
rect 0 -17 31 17
rect 65 -17 127 17
rect 161 -17 223 17
rect 257 -17 319 17
rect 353 -17 415 17
rect 449 -17 511 17
rect 545 -17 607 17
rect 641 -17 703 17
rect 737 -17 799 17
rect 833 -17 895 17
rect 929 -17 991 17
rect 1025 -17 1087 17
rect 1121 -17 1183 17
rect 1217 -17 1279 17
rect 1313 -17 1375 17
rect 1409 -17 1471 17
rect 1505 -17 1567 17
rect 1601 -17 1663 17
rect 1697 -17 1759 17
rect 1793 -17 1855 17
rect 1889 -17 1951 17
rect 1985 -17 2047 17
rect 2081 -17 2143 17
rect 2177 -17 2239 17
rect 2273 -17 2335 17
rect 2369 -17 2431 17
rect 2465 -17 2527 17
rect 2561 -17 2623 17
rect 2657 -17 2719 17
rect 2753 -17 2815 17
rect 2849 -17 2911 17
rect 2945 -17 3007 17
rect 3041 -17 3103 17
rect 3137 -17 3199 17
rect 3233 -17 3295 17
rect 3329 -17 3391 17
rect 3425 -17 3487 17
rect 3521 -17 3552 17
rect 0 -49 3552 -17
<< labels >>
rlabel comment s 0 0 0 0 4 sdfsbp_2
flabel comment s 1764 481 1764 481 0 FreeSans 200 0 0 0 no_jumper_check
flabel comment s 1382 323 1382 323 0 FreeSans 200 0 0 0 no_jumper_check
flabel comment s 1126 276 1126 276 0 FreeSans 200 0 0 0 no_jumper_check
flabel pwell s 0 0 3552 49 0 FreeSans 200 0 0 0 VNB
port 7 nsew ground bidirectional
flabel nwell s 0 617 3552 666 0 FreeSans 200 0 0 0 VPB
port 8 nsew power bidirectional
flabel metal1 s 2623 316 2657 350 0 FreeSans 340 0 0 0 SET_B
port 5 nsew signal input
flabel metal1 s 0 617 3552 666 0 FreeSans 340 0 0 0 VPWR
port 9 nsew power bidirectional
flabel metal1 s 0 0 3552 49 0 FreeSans 340 0 0 0 VGND
port 6 nsew ground bidirectional
flabel locali s 607 242 641 276 0 FreeSans 340 0 0 0 SCD
port 3 nsew signal input
flabel locali s 3007 94 3041 128 0 FreeSans 340 0 0 0 Q_N
port 11 nsew signal output
flabel locali s 3007 168 3041 202 0 FreeSans 340 0 0 0 Q_N
port 11 nsew signal output
flabel locali s 3007 242 3041 276 0 FreeSans 340 0 0 0 Q_N
port 11 nsew signal output
flabel locali s 3391 94 3425 128 0 FreeSans 340 0 0 0 Q
port 10 nsew signal output
flabel locali s 3391 168 3425 202 0 FreeSans 340 0 0 0 Q
port 10 nsew signal output
flabel locali s 799 242 833 276 0 FreeSans 340 0 0 0 CLK
port 1 nsew clock input
flabel locali s 319 94 353 128 0 FreeSans 340 0 0 0 D
port 2 nsew signal input
flabel locali s 319 168 353 202 0 FreeSans 340 0 0 0 D
port 2 nsew signal input
flabel locali s 415 242 449 276 0 FreeSans 340 0 0 0 SCE
port 4 nsew signal input
<< properties >>
string LEFsite unit
string LEFclass CORE
string FIXED_BBOX 0 0 3552 666
string GDS_FILE $PDKPATH/libs.ref/sky130_fd_sc_hs/gds/sky130_fd_sc_hs.gds
string LEFsymmetry X Y
string GDS_END 3602356
string GDS_START 3577448
<< end >>
